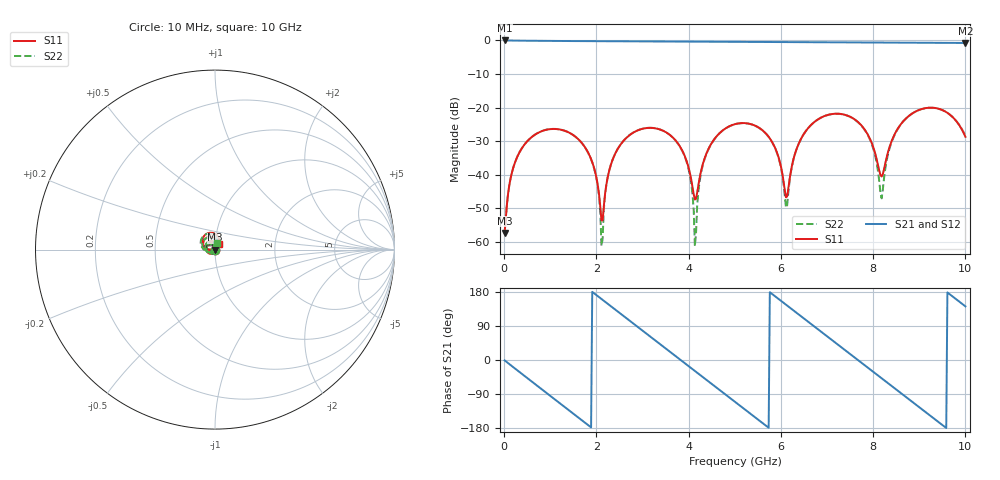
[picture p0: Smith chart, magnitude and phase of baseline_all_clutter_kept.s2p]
! Layout cleanup equivalence validation - 38 mm 50 ohm stripline
! Case: Baseline - all foreign-net clutter retained
! Solver: Ansys HFSS 3D Layout 2026 R1, broadband adaptive 1-5 GHz,
!  Delta S 0.02, interpolating sweep 10 MHz - 10 GHz
# GHz S MA R 50.000000
! Terminal data exported
! Port[1] = U1.PAD1.SIG
! Port[2] = U2.PAD1.SIG
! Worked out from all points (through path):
!   401 points, 10 MHz to 10 GHz, reference 50 ohm
!   highest |S21| = -0.01 dB at 10 MHz (marker M1); lowest = -0.8 dB at 10 GHz (marker M2)
!   group delay of S21, straight-line fit = 260 ps
!   lowest |S11| = -57.3 dB at 10 MHz (marker M3), VSWR 1.00, Z = 50.1 - j0.0393 ohm
!   |S11| at or under -10 dB: start of sweep to end of sweep
!   |S22| runs from -61.3 to -20.0 dB; largest |S21 - S12| = 1.7e-14
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0.01  0.00136 -16.7  0.9986 -1.0  0.9986 -1.0  0.00136 -16.7
0.185  0.01189 -90.8  0.9945 -17.7  0.9945 -17.7  0.01192 -90.3
0.51  0.03199 -131.1  0.9892 -48.5  0.9892 -48.5  0.03209 -130.0
1.085  0.04802 170.6  0.9817 -102.7  0.9817 -102.7  0.04813 172.5
1.685  0.02961 114.0  0.9766 -159.0  0.9766 -159.0  0.02957 114.7
1.96  0.01192 93.1  0.9745 175.1  0.9745 175.1  0.01171 87.7
2.11  0.002083 133.8  0.9732 161.0  0.9732 161.0  0.0008687 52.3
2.485  0.02568 -149.8  0.9697 125.8  0.9697 125.8  0.02579 -139.5
3.36  0.04758 132.2  0.9618 43.7  0.9618 43.7  0.04763 138.2
3.91  0.01937 89.3  0.9585 -7.8  0.9585 -7.8  0.01898 86.3
4.135  0.004264 135.2  0.9569 -28.9  0.9569 -28.9  0.0008624 47.4
4.41  0.02267 -160.0  0.9546 -54.7  0.9546 -54.7  0.0223 -139.1
5.01  0.05677 151.9  0.9489 -111.0  0.9489 -111.0  0.05661 164.7
5.76  0.03476 88.7  0.9448 178.8  0.9448 178.8  0.03452 98.0
6.11  0.00461 125.4  0.943 146.0  0.943 146.0  0.00323 131.5
6.685  0.05769 173.3  0.9374 92.0  0.9374 92.0  0.05764 -175.9
7.56  0.06938 99.0  0.9309 10.2  0.9309 10.2  0.06908 106.2
7.935  0.03373 73.8  0.9301 -24.9  0.9301 -24.9  0.03279 75.7
8.185  0.009412 128.7  0.929 -48.4  0.929 -48.4  0.004447 142.4
8.335  0.0233 178.0  0.9277 -62.5  0.9277 -62.5  0.02183 -160.4
9.285  0.09947 113.4  0.9171 -151.5  0.9171 -151.5  0.09938 124.3
10  0.03671 55.5  0.9166 141.6  0.9166 141.6  0.03789 72.0
